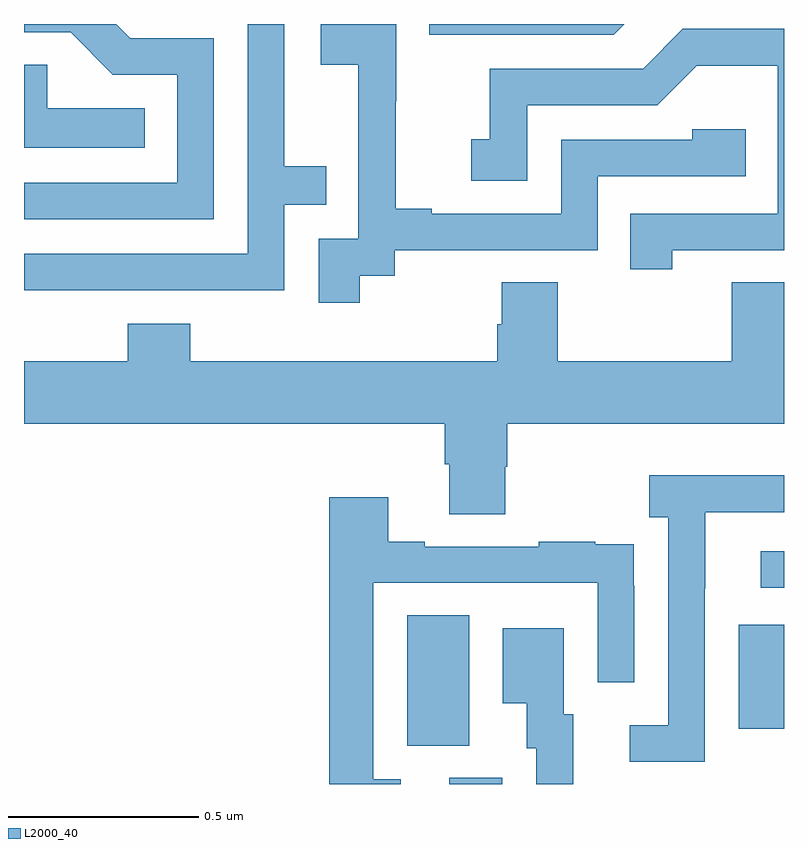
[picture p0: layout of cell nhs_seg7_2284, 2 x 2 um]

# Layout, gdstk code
import gdstk
lib = gdstk.Library(unit=1e-6, precision=1e-09)
def R(c, l, rs):  # rectangles x0, y0, x1, y1
    for r in rs: c.add(gdstk.rectangle(r[:2], r[2:], *l))
def P(c, l, *ps):  # polygons
    for p in ps: c.add(gdstk.Polygon(p, *l))
L2000_40 = (2000, 40)

nhs_seg7_2284 = lib.new_cell('nhs_seg7_2284')
R(nhs_seg7_2284, L2000_40, [(144.119,1001,144.259,1001.016), (144.008,1001.101,144.172,1001.444), (144.881,1001.145,145,1001.419), (144.939,1001.517,145,1001.613)])
P(nhs_seg7_2284, L2000_40, [(143.499,1002.963),(143.28,1002.963),(143.243,1003),(143,1003),(143,1002.978),(143.123,1002.978),(143.234,1002.867),(143.403,1002.867),(143.403,1002.582),(143,1002.582),(143,1002.486),(143.499,1002.486)],
  [(143.189,1002.3),(143.685,1002.3),(143.685,1002.525),(143.795,1002.525),(143.795,1002.626),(143.685,1002.626),(143.685,1003),(143.589,1003),(143.589,1002.396),(143,1002.396),(143,1002.299),(143.189,1002.299)],
  [(144.58,1003),(144.066,1003),(144.066,1002.972),(144.552,1002.972)],
  [(143.884,1002.337),(143.976,1002.337),(143.976,1002.405),(144.51,1002.405),(144.51,1002.6),(144.899,1002.6),(144.899,1002.723),(144.759,1002.723),(144.759,1002.696),(144.414,1002.696),(144.414,1002.501),(144.073,1002.501),(144.073,1002.514),(143.978,1002.514),(143.978,1002.797),(143.979,1002.797),(143.979,1003),(143.781,1003),(143.781,1002.893),(143.879,1002.893),(143.879,1002.665),(143.88,1002.665),(143.88,1002.435),(143.775,1002.435),(143.775,1002.267),(143.884,1002.267)],
  [(144.706,1002.405),(145,1002.405),(145,1002.987),(144.734,1002.987),(144.629,1002.882),(144.226,1002.882),(144.226,1002.697),(144.177,1002.697),(144.177,1002.588),(144.324,1002.588),(144.324,1002.786),(144.666,1002.786),(144.77,1002.89),(144.984,1002.89),(144.984,1002.501),(144.595,1002.501),(144.595,1002.354),(144.706,1002.354)],
  [(143.318,1002.778),(143.061,1002.778),(143.061,1002.893),(143,1002.893),(143,1002.674),(143.318,1002.674)],
  [(144.257,1002.21),(144.245,1002.21),(144.245,1002.112),(143.438,1002.112),(143.438,1002.211),(143.273,1002.211),(143.273,1002.112),(143,1002.112),(143,1001.948),(144.107,1001.948),(144.107,1001.842),(144.119,1001.842),(144.119,1001.71),(144.267,1001.71),(144.267,1001.835),(144.272,1001.835),(144.272,1001.948),(145,1001.948),(145,1002.32),(144.862,1002.32),(144.862,1002.112),(144.405,1002.112),(144.405,1002.32),(144.257,1002.32)],
  [(144.792,1001.515),(144.793,1001.515),(144.793,1001.715),(145,1001.715),(145,1001.812),(144.645,1001.812),(144.645,1001.702),(144.696,1001.702),(144.696,1001.154),(144.594,1001.154),(144.594,1001.058),(144.792,1001.058)],
  [(143.992,1001.013),(143.919,1001.013),(143.919,1001.529),(144.51,1001.529),(144.51,1001.268),(144.606,1001.268),(144.606,1001.522),(144.605,1001.522),(144.605,1001.631),(144.503,1001.631),(144.503,1001.638),(144.355,1001.638),(144.355,1001.625),(144.055,1001.625),(144.055,1001.638),(143.959,1001.638),(143.959,1001.755),(143.803,1001.755),(143.803,1001),(143.992,1001)],
  [(144.445,1001.184),(144.421,1001.184),(144.421,1001.41),(144.26,1001.41),(144.26,1001.213),(144.323,1001.213),(144.323,1001.094),(144.348,1001.094),(144.348,1001),(144.445,1001)])

lib.write_gds('nhs_seg7_2284.gds')
